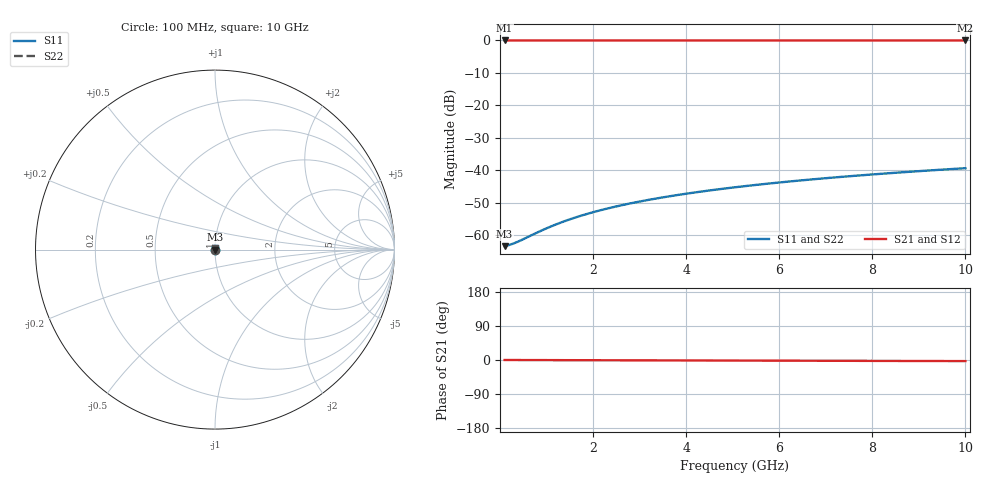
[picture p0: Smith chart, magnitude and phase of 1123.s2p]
# Hz S RI R 50.00
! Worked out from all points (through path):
!   100 points, 100 MHz to 10 GHz, reference 50 ohm
!   highest |S21| = -0.01 dB at 100 MHz (marker M1); lowest = 0.0 dB at 10 GHz (marker M2)
!   lowest |S11| = -63.3 dB at 100 MHz (marker M3), VSWR 1.00, Z = 50.1 + j0.0108 ohm
!   |S11| at or under -10 dB: start of sweep to end of sweep
!   |S22| runs from -63.3 to -39.3 dB; largest |S21 - S12| = 0
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1e8  0.000673 0.000107  0.9993 -0.000513  0.9993 -0.000513  0.000673 0.000107
2e8  0.000677 0.000215  0.9993 -0.00103  0.9993 -0.00103  0.000677 0.000215
3e8  0.000681 0.000322  0.9993 -0.00154  0.9993 -0.00154  0.000681 0.000322
4e8  0.000683 0.00043  0.9993 -0.00205  0.9993 -0.00205  0.000683 0.00043
9e8  0.000696 0.000967  0.9993 -0.00461  0.9993 -0.00461  0.000696 0.000967
1.2e9  0.000703 0.00129  0.9993 -0.00615  0.9993 -0.00615  0.000703 0.00129
1.5e9  0.00071 0.00161  0.9993 -0.00769  0.9993 -0.00769  0.00071 0.00161
1.8e9  0.000718 0.00193  0.9992 -0.00923  0.9992 -0.00923  0.000718 0.00193
2.1e9  0.000727 0.00226  0.9992 -0.0108  0.9992 -0.0108  0.000727 0.00226
2.5e9  0.00074 0.00269  0.9992 -0.0128  0.9992 -0.0128  0.00074 0.00269
2.9e9  0.000755 0.00312  0.9992 -0.0149  0.9992 -0.0149  0.000755 0.00312
3.4e9  0.000775 0.00365  0.9991 -0.0174  0.9991 -0.0174  0.000775 0.00365
3.8e9  0.000793 0.00408  0.9991 -0.0195  0.9991 -0.0195  0.000793 0.00408
4.2e9  0.000813 0.00451  0.999 -0.0215  0.999 -0.0215  0.000813 0.00451
4.6e9  0.000835 0.00494  0.999 -0.0236  0.999 -0.0236  0.000835 0.00494
5.1e9  0.000864 0.00548  0.9989 -0.0262  0.9989 -0.0262  0.000864 0.00548
5.9e9  0.000917 0.00633  0.9988 -0.0303  0.9988 -0.0303  0.000917 0.00633
6.7e9  0.000976 0.00719  0.9986 -0.0344  0.9986 -0.0344  0.000976 0.00719
7.5e9  0.00104 0.00805  0.9985 -0.0385  0.9985 -0.0385  0.00104 0.00805
8.4e9  0.00113 0.00901  0.9983 -0.0431  0.9983 -0.0431  0.00113 0.00901
9.2e9  0.00121 0.00987  0.9981 -0.0472  0.9981 -0.0472  0.00121 0.00987
1e10  0.0013 0.0107  0.9978 -0.0513  0.9978 -0.0513  0.0013 0.0107
